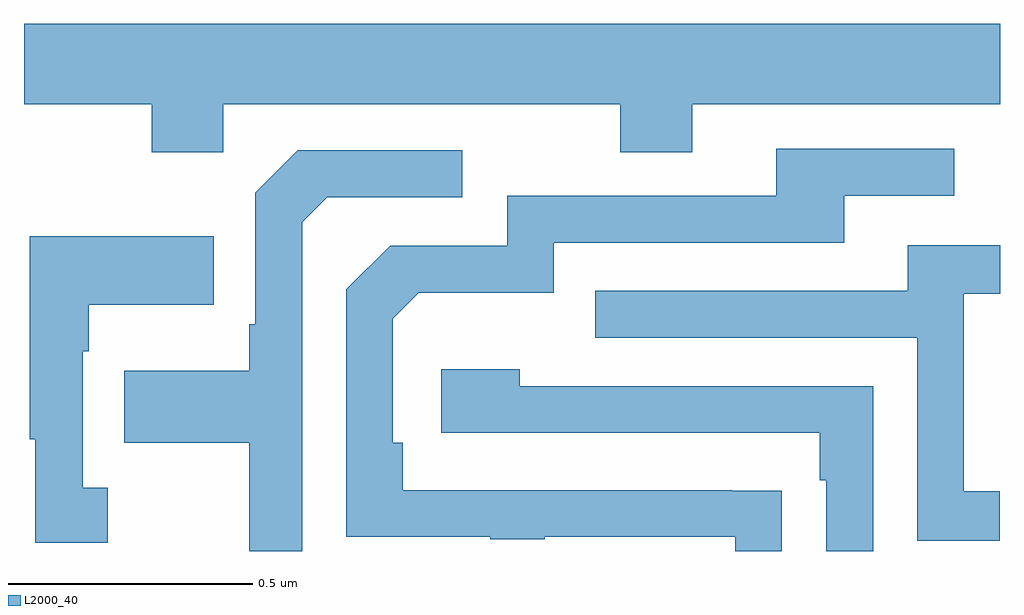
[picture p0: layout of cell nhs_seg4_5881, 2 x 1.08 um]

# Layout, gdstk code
import gdstk
lib = gdstk.Library(unit=1e-6, precision=1e-09)
def P(c, l, *ps):  # polygons
    for p in ps: c.add(gdstk.Polygon(p, *l))
L2000_40 = (2000, 40)

nhs_seg4_5881 = lib.new_cell('nhs_seg4_5881')
P(nhs_seg4_5881, L2000_40, [(183.408,800.816),(184.222,800.816),(184.222,800.717),(184.369,800.717),(184.369,800.816),(185,800.816),(185,800.98),(183,800.98),(183,800.816),(183.262,800.816),(183.262,800.717),(183.408,800.717)],
  [(184.553,800.024),(184.451,800.024),(184.451,800.025),(183.776,800.025),(183.776,800.122),(183.756,800.122),(183.756,800.376),(183.809,800.429),(184.086,800.429),(184.086,800.532),(184.681,800.532),(184.681,800.628),(184.906,800.628),(184.906,800.724),(184.541,800.724),(184.541,800.628),(183.99,800.628),(183.99,800.526),(183.75,800.526),(183.66,800.436),(183.66,799.929),(183.955,799.929),(183.955,799.924),(184.067,799.924),(184.067,799.929),(184.457,799.929),(184.457,799.9),(184.553,799.9)],
  [(183.57,800.574),(183.621,800.625),(183.898,800.625),(183.898,800.721),(183.561,800.721),(183.474,800.634),(183.474,800.365),(183.462,800.365),(183.462,800.269),(183.205,800.269),(183.205,800.122),(183.462,800.122),(183.462,799.9),(183.57,799.9)],
  [(183.172,800.03),(183.12,800.03),(183.12,800.309),(183.133,800.309),(183.133,800.405),(183.389,800.405),(183.389,800.545),(183.012,800.545),(183.012,800.129),(183.023,800.129),(183.023,799.917),(183.172,799.917)],
  [(184.999,800.022),(184.926,800.022),(184.926,800.427),(185,800.427),(185,800.527),(184.811,800.527),(184.811,800.433),(184.171,800.433),(184.171,800.337),(184.83,800.337),(184.83,799.921),(184.999,799.921)],
  [(184.74,800.238),(184.016,800.238),(184.016,800.272),(183.855,800.272),(183.855,800.142),(184.631,800.142),(184.631,800.045),(184.644,800.045),(184.644,799.9),(184.74,799.9)])

lib.write_gds('nhs_seg4_5881.gds')
